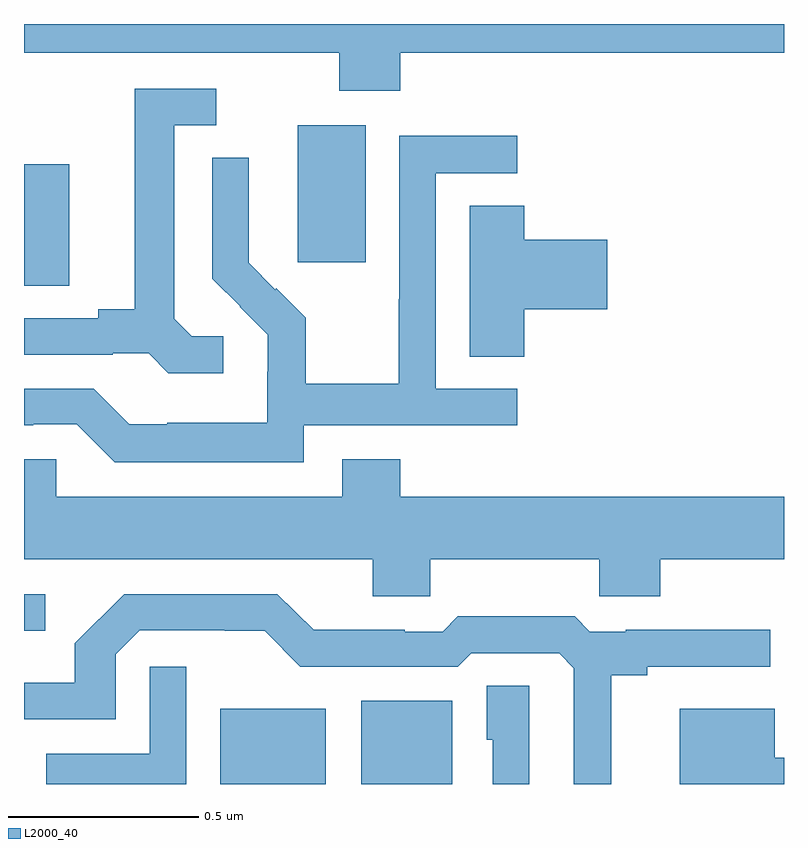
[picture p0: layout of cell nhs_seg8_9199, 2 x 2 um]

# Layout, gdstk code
import gdstk
lib = gdstk.Library(unit=1e-6, precision=1e-09)
def R(c, l, rs):  # rectangles x0, y0, x1, y1
    for r in rs: c.add(gdstk.rectangle(r[:2], r[2:], *l))
def P(c, l, *ps):  # polygons
    for p in ps: c.add(gdstk.Polygon(p, *l))
L2000_40 = (2000, 40)

nhs_seg8_9199 = lib.new_cell('nhs_seg8_9199')
R(nhs_seg8_9199, L2000_40, [(233.516,1123.9,233.794,1124.098), (233.888,1123.9,234.127,1124.119), (233,1124.303,233.056,1124.4), (233,1125.211,233.119,1125.531), (233.72,1125.273,233.899,1125.634)])
P(nhs_seg8_9199, L2000_40, [(233.99,1125.824),(235,1125.824),(235,1125.9),(233,1125.9),(233,1125.824),(233.83,1125.824),(233.83,1125.725),(233.99,1125.725)],
  [(233.524,1125.078),(233.442,1125.078),(233.395,1125.125),(233.395,1125.633),(233.506,1125.633),(233.506,1125.729),(233.291,1125.729),(233.291,1125.149),(233.195,1125.149),(233.195,1125.126),(233,1125.126),(233,1125.03),(233.234,1125.03),(233.234,1125.033),(233.328,1125.033),(233.38,1124.981),(233.524,1124.981)],
  [(233.736,1124.844),(234.298,1124.844),(234.298,1124.94),(234.084,1124.94),(234.084,1125.507),(234.298,1125.507),(234.298,1125.606),(233.988,1125.606),(233.988,1125.176),(233.986,1125.176),(233.986,1124.953),(233.741,1124.953),(233.741,1125.127),(233.664,1125.204),(233.661,1125.201),(233.591,1125.272),(233.591,1125.394),(233.592,1125.394),(233.592,1125.548),(233.496,1125.548),(233.496,1125.23),(233.569,1125.157),(233.568,1125.156),(233.642,1125.082),(233.642,1124.985),(233.64,1124.985),(233.64,1124.851),(233.377,1124.851),(233.377,1124.847),(233.277,1124.847),(233.184,1124.94),(233,1124.94),(233,1124.844),(233.024,1124.844),(233.024,1124.847),(233.139,1124.847),(233.239,1124.747),(233.736,1124.747)],
  [(234.317,1125.149),(234.535,1125.149),(234.535,1125.332),(234.317,1125.332),(234.317,1125.422),(234.173,1125.422),(234.173,1125.025),(234.317,1125.025)],
  [(234.069,1124.492),(234.514,1124.492),(234.514,1124.394),(234.674,1124.394),(234.674,1124.492),(235,1124.492),(235,1124.656),(233.99,1124.656),(233.99,1124.755),(233.837,1124.755),(233.837,1124.656),(233.085,1124.656),(233.085,1124.754),(233,1124.754),(233,1124.492),(233.918,1124.492),(233.918,1124.394),(234.069,1124.394)],
  [(234.545,1124.186),(234.64,1124.186),(234.64,1124.208),(234.964,1124.208),(234.964,1124.306),(234.583,1124.306),(234.583,1124.301),(234.489,1124.301),(234.449,1124.341),(234.142,1124.341),(234.102,1124.301),(234.002,1124.301),(234.002,1124.306),(233.762,1124.306),(233.667,1124.4),(233.264,1124.4),(233.134,1124.27),(233.134,1124.167),(233,1124.167),(233,1124.07),(233.241,1124.07),(233.241,1124.241),(233.304,1124.304),(233.528,1124.304),(233.528,1124.303),(233.633,1124.303),(233.727,1124.208),(234.141,1124.208),(234.177,1124.244),(234.408,1124.244),(234.447,1124.205),(234.447,1123.9),(234.545,1123.9)],
  [(233.427,1124.209),(233.331,1124.209),(233.331,1123.98),(233.058,1123.98),(233.058,1123.9),(233.427,1123.9)],
  [(234.33,1124.159),(234.218,1124.159),(234.218,1124.016),(234.234,1124.016),(234.234,1123.9),(234.33,1123.9)],
  [(235,1123.969),(234.976,1123.969),(234.976,1124.098),(234.725,1124.098),(234.725,1123.9),(235,1123.9)])

lib.write_gds('nhs_seg8_9199.gds')
